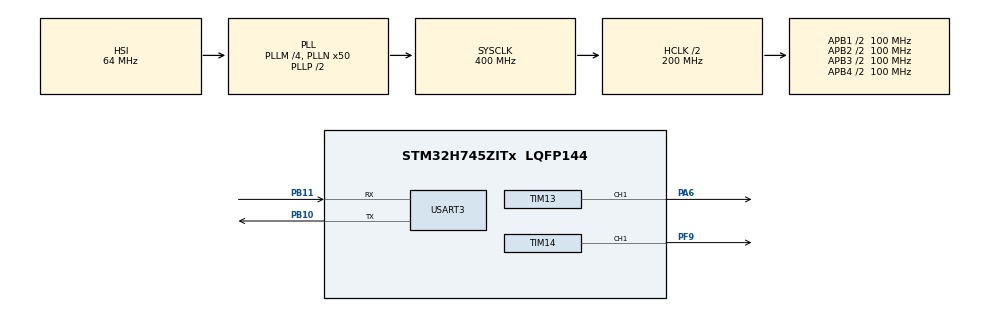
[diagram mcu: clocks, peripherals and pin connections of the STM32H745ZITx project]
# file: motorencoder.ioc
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CORTEX_M7.default_mode_Activation=1
CortexM4.IPs=BDMA,CORTEX_M4\:I,DMA,FATFS_M4\:I,FREERTOS_M4\:I,GPIO,IWDG2\:I,MDMA,NVIC2\:I,OPENAMP_M4\:I,PDM2PCM_M4\:I,PWR,RCC,RESMGR_UTILITY,SYS_M4\:I,USB_DEVICE_M4\:I,USB_HOST_M4\:I,VREFBUF,WWDG2\:I
CortexM7.IPs=BDMA\:I,CORTEX_M7\:I,DMA\:I,FATFS_M7\:I,FREERTOS_M7\:I,GPIO\:I,IWDG1\:I,MDMA\:I,NVIC1\:I,OPENAMP_M7\:I,PDM2PCM_M7\:I,PWR\:I,RCC\:I,RESMGR_UTILITY\:I,SYS\:I,USB_DEVICE_M7\:I,USB_HOST_M7\:I,VREFBUF\:I,WWDG1\:I,MEMORYMAP\:I,TIM13\:I,USART3\:I,TIM14\:I
Mcu.Family=STM32H7
Mcu.Name=STM32H745ZITx
Mcu.Package=LQFP144
NVIC1.PriorityGroup=NVIC_PRIORITYGROUP_4
NVIC2.PriorityGroup=NVIC_PRIORITYGROUP_4
PA6.PinAttribute=CortexM7
PA6.Signal=S_TIM13_CH1
PB10.Mode=Asynchronous
PB10.PinAttribute=CortexM7
PB10.Signal=USART3_TX
PB11.Mode=Asynchronous
PB11.PinAttribute=CortexM7
PB11.Signal=USART3_RX
PC14-OSC32_IN\ (OSC32_IN).Mode=LSE-External-Oscillator
PC14-OSC32_IN\ (OSC32_IN).PinAttribute=Free
PC14-OSC32_IN\ (OSC32_IN).Signal=RCC_OSC32_IN
PC15-OSC32_OUT\ (OSC32_OUT).Mode=LSE-External-Oscillator
PC15-OSC32_OUT\ (OSC32_OUT).PinAttribute=Free
PC15-OSC32_OUT\ (OSC32_OUT).Signal=RCC_OSC32_OUT
PF9.PinAttribute=CortexM7
PF9.Signal=S_TIM14_CH1
PH0-OSC_IN\ (PH0).Mode=HSE-External-Clock-Source
PH0-OSC_IN\ (PH0).PinAttribute=Free
PH0-OSC_IN\ (PH0).Signal=RCC_OSC_IN
ProjectManager.HeapSize=M4-0x200,M7-0x200
ProjectManager.StackSize=M4-0x400,M7-0x400
ProjectManager.TargetToolchain=STM32CubeIDE
RCC.ADCFreq_Value=129000000
RCC.APB1Freq_Value=100000000
RCC.APB2Freq_Value=100000000
RCC.APB3Freq_Value=100000000
RCC.APB4Freq_Value=100000000
RCC.CortexFreq_Value=400000000
RCC.D1PPRE=RCC_APB3_DIV2
RCC.D2PPRE1=RCC_APB1_DIV2
RCC.D2PPRE2=RCC_APB2_DIV2
RCC.D3PPRE=RCC_APB4_DIV2
RCC.DIVM1=4
RCC.DIVN1=50
RCC.HCLKFreq_Value=200000000
RCC.HPRE=RCC_HCLK_DIV2
RCC.HSE_VALUE=8000000
RCC.SYSCLKFreq_VALUE=400000000
RCC.SYSCLKSource=RCC_SYSCLKSOURCE_PLLCLK
RCC.USBFreq_Value=400000000
SH.S_TIM13_CH1.0=TIM13_CH1,PWM Generation1 CH1
SH.S_TIM14_CH1.0=TIM14_CH1,PWM Generation1 CH1
SYS.userName=SYS_M7
TIM13.AutoReloadPreload=TIM_AUTORELOAD_PRELOAD_ENABLE
TIM13.Channel=TIM_CHANNEL_1
TIM13.Period=19999
TIM13.Prescaler=199
TIM13.Pulse=1500
TIM14.AutoReloadPreload=TIM_AUTORELOAD_PRELOAD_ENABLE
TIM14.Channel=TIM_CHANNEL_1
TIM14.Period=19999
TIM14.Prescaler=199
TIM14.Pulse=1500
USART3.VirtualMode-Asynchronous=VM_ASYNC
VP_MEMORYMAP_VS_MEMORYMAP.Mode=CurAppReg
VP_SYS_M4_VS_Systick.Mode=SysTick
VP_TIM13_VS_ClockSourceINT.Mode=Enable_Timer
VP_TIM14_VS_ClockSourceINT.Mode=Enable_Timer
board=custom

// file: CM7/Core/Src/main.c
/* USER CODE BEGIN Header */
/**
  ******************************************************************************
  * @file           : main.c
  * @brief          : Main program body
  ******************************************************************************
  * @attention
  *
  * Copyright (c) 2025 STMicroelectronics.
  * All rights reserved.
  *
  * This software is licensed under terms that can be found in the LICENSE file
  * in the root directory of this software component.
  * If no LICENSE file comes with this software, it is provided AS-IS.
  *
  ******************************************************************************
  */
/* USER CODE END Header */
#include "main.h"

/* USER CODE BEGIN PD */

/* DUAL_CORE_BOOT_SYNC_SEQUENCE: Define for dual core boot synchronization    */
/*                             demonstration code based on hardware semaphore */
/* This define is present in both CM7/CM4 projects                            */
/* To comment when developping/debugging on a single core                     */
#define DUAL_CORE_BOOT_SYNC_SEQUENCE

#if defined(DUAL_CORE_BOOT_SYNC_SEQUENCE)
#ifndef HSEM_ID_0
#define HSEM_ID_0 (0U) /* HW semaphore 0*/
#endif
#endif /* DUAL_CORE_BOOT_SYNC_SEQUENCE */

/* USER CODE END PD */

TIM_HandleTypeDef htim13;
TIM_HandleTypeDef htim14;

UART_HandleTypeDef huart3;

void SystemClock_Config(void);
static void MPU_Config(void);
static void MX_GPIO_Init(void);
static void MX_TIM13_Init(void);
static void MX_USART3_UART_Init(void);
static void MX_TIM14_Init(void);

/* USER CODE BEGIN 0 */
// Ajusta el ancho de pulso (en microsegundos) para el ESC
void setEscSpeed(uint16_t pulseWidth_us)
{
    if (pulseWidth_us < 1000) pulseWidth_us = 1000;   // límite inferior
    if (pulseWidth_us > 2000) pulseWidth_us = 2000;   // límite superior
    __HAL_TIM_SET_COMPARE(&htim14, TIM_CHANNEL_1, pulseWidth_us);
}

// Pone el ESC en neutral (1.5 ms)
void stopCarEsc(void)
{
    __HAL_TIM_SET_COMPARE(&htim14, TIM_CHANNEL_1, 1500);
}

// Calibración del ESC
void escCalibrate(void)
{
    // Paso 1: Full Throttle
    setEscSpeed(2000);
    HAL_Delay(5000);

    // Paso 2: Full Reverse
    setEscSpeed(1000);
    HAL_Delay(5000);

    // Paso 3: Neutral
    stopCarEsc();
    HAL_Delay(2000);
}
/* USER CODE END 0 */

int main(void)
{

/* USER CODE BEGIN Boot_Mode_Sequence_0 */
#if defined(DUAL_CORE_BOOT_SYNC_SEQUENCE)
  int32_t timeout;
#endif /* DUAL_CORE_BOOT_SYNC_SEQUENCE */
/* USER CODE END Boot_Mode_Sequence_0 */

  /* MPU Configuration--------------------------------------------------------*/
  MPU_Config();

/* USER CODE BEGIN Boot_Mode_Sequence_1 */
#if defined(DUAL_CORE_BOOT_SYNC_SEQUENCE)
  /* Wait until CPU2 boots and enters in stop mode or timeout*/
  timeout = 0xFFFF;
  while((__HAL_RCC_GET_FLAG(RCC_FLAG_D2CKRDY) != RESET) && (timeout-- > 0));
  if ( timeout < 0 )
  {
  Error_Handler();
  }
#endif /* DUAL_CORE_BOOT_SYNC_SEQUENCE */
/* USER CODE END Boot_Mode_Sequence_1 */
  /* MCU Configuration--------------------------------------------------------*/

  /* Reset of all peripherals, Initializes the Flash interface and the Systick. */
  HAL_Init();

  /* Configure the system clock */
  SystemClock_Config();
/* USER CODE BEGIN Boot_Mode_Sequence_2 */
#if defined(DUAL_CORE_BOOT_SYNC_SEQUENCE)
/* When system initialization is finished, Cortex-M7 will release Cortex-M4 by means of
HSEM notification */
/*HW semaphore Clock enable*/
__HAL_RCC_HSEM_CLK_ENABLE();
/*Take HSEM */
HAL_HSEM_FastTake(HSEM_ID_0);
/*Release HSEM in order to notify the CPU2(CM4)*/
HAL_HSEM_Release(HSEM_ID_0,0);
/* wait until CPU2 wakes up from stop mode */
timeout = 0xFFFF;
while((__HAL_RCC_GET_FLAG(RCC_FLAG_D2CKRDY) == RESET) && (timeout-- > 0));
if ( timeout < 0 )
{
Error_Handler();
}
#endif /* DUAL_CORE_BOOT_SYNC_SEQUENCE */
/* USER CODE END Boot_Mode_Sequence_2 */

  /* Initialize all configured peripherals */
  MX_GPIO_Init();
  MX_TIM13_Init();
  MX_USART3_UART_Init();
  MX_TIM14_Init();
  /* USER CODE BEGIN 2 */
  // Arrancar el PWM en TIM13 canal 1
  HAL_TIM_PWM_Start(&htim13, TIM_CHANNEL_1);
  HAL_TIM_PWM_Start(&htim14, TIM_CHANNEL_1);
  setEscSpeed(2000); // Full Throttle
  HAL_Delay(5000);   // espera 5 segundos
  escCalibrate();

  /* USER CODE END 2 */

  /* Infinite loop */
  /* USER CODE BEGIN WHILE */
  while (1)
  {
      // Avanza a máxima velocidad
      setEscSpeed(1700);
      HAL_Delay(2000);

      // Neutro
      stopCarEsc();
      HAL_Delay(2000);

      // Reversa
      setEscSpeed(1250);
      HAL_Delay(2000);

      // Neutro
      stopCarEsc();
      HAL_Delay(2000);
  }
    /* USER CODE END WHILE */

}

void SystemClock_Config(void)
{
  RCC_OscInitTypeDef RCC_OscInitStruct = {0};
  RCC_ClkInitTypeDef RCC_ClkInitStruct = {0};

  /** Supply configuration update enable
  */
  HAL_PWREx_ConfigSupply(PWR_DIRECT_SMPS_SUPPLY);

  /** Configure the main internal regulator output voltage
  */
  __HAL_PWR_VOLTAGESCALING_CONFIG(PWR_REGULATOR_VOLTAGE_SCALE1);

  while(!__HAL_PWR_GET_FLAG(PWR_FLAG_VOSRDY)) {}

  /** Initializes the RCC Oscillators according to the specified parameters
  * in the RCC_OscInitTypeDef structure.
  */
  RCC_OscInitStruct.OscillatorType = RCC_OSCILLATORTYPE_HSI;
  RCC_OscInitStruct.HSIState = RCC_HSI_DIV1;
  RCC_OscInitStruct.HSICalibrationValue = RCC_HSICALIBRATION_DEFAULT;
  RCC_OscInitStruct.PLL.PLLState = RCC_PLL_ON;
  RCC_OscInitStruct.PLL.PLLSource = RCC_PLLSOURCE_HSI;
  RCC_OscInitStruct.PLL.PLLM = 4;
  RCC_OscInitStruct.PLL.PLLN = 50;
  RCC_OscInitStruct.PLL.PLLP = 2;
  RCC_OscInitStruct.PLL.PLLQ = 2;
  RCC_OscInitStruct.PLL.PLLR = 2;
  RCC_OscInitStruct.PLL.PLLRGE = RCC_PLL1VCIRANGE_3;
  RCC_OscInitStruct.PLL.PLLVCOSEL = RCC_PLL1VCOWIDE;
  RCC_OscInitStruct.PLL.PLLFRACN = 0;
  if (HAL_RCC_OscConfig(&RCC_OscInitStruct) != HAL_OK)
  {
    Error_Handler();
  }

  /** Initializes the CPU, AHB and APB buses clocks
  */
  RCC_ClkInitStruct.ClockType = RCC_CLOCKTYPE_HCLK|RCC_CLOCKTYPE_SYSCLK
                              |RCC_CLOCKTYPE_PCLK1|RCC_CLOCKTYPE_PCLK2
                              |RCC_CLOCKTYPE_D3PCLK1|RCC_CLOCKTYPE_D1PCLK1;
  RCC_ClkInitStruct.SYSCLKSource = RCC_SYSCLKSOURCE_PLLCLK;
  RCC_ClkInitStruct.SYSCLKDivider = RCC_SYSCLK_DIV1;
  RCC_ClkInitStruct.AHBCLKDivider = RCC_HCLK_DIV2;
  RCC_ClkInitStruct.APB3CLKDivider = RCC_APB3_DIV2;
  RCC_ClkInitStruct.APB1CLKDivider = RCC_APB1_DIV2;
  RCC_ClkInitStruct.APB2CLKDivider = RCC_APB2_DIV2;
  RCC_ClkInitStruct.APB4CLKDivider = RCC_APB4_DIV2;

  if (HAL_RCC_ClockConfig(&RCC_ClkInitStruct, FLASH_LATENCY_2) != HAL_OK)
  {
    Error_Handler();
  }
}

static void MX_TIM13_Init(void)
{

  TIM_OC_InitTypeDef sConfigOC = {0};

  htim13.Instance = TIM13;
  htim13.Init.Prescaler = 199;
  htim13.Init.CounterMode = TIM_COUNTERMODE_UP;
  htim13.Init.Period = 19999;
  htim13.Init.ClockDivision = TIM_CLOCKDIVISION_DIV1;
  htim13.Init.AutoReloadPreload = TIM_AUTORELOAD_PRELOAD_ENABLE;
  if (HAL_TIM_Base_Init(&htim13) != HAL_OK)
  {
    Error_Handler();
  }
  if (HAL_TIM_PWM_Init(&htim13) != HAL_OK)
  {
    Error_Handler();
  }
  sConfigOC.OCMode = TIM_OCMODE_PWM1;
  sConfigOC.Pulse = 1500;
  sConfigOC.OCPolarity = TIM_OCPOLARITY_HIGH;
  sConfigOC.OCFastMode = TIM_OCFAST_DISABLE;
  if (HAL_TIM_PWM_ConfigChannel(&htim13, &sConfigOC, TIM_CHANNEL_1) != HAL_OK)
  {
    Error_Handler();
  }
  HAL_TIM_MspPostInit(&htim13);

}

static void MX_TIM14_Init(void)
{

  TIM_OC_InitTypeDef sConfigOC = {0};

  htim14.Instance = TIM14;
  htim14.Init.Prescaler = 199;
  htim14.Init.CounterMode = TIM_COUNTERMODE_UP;
  htim14.Init.Period = 19999;
  htim14.Init.ClockDivision = TIM_CLOCKDIVISION_DIV1;
  htim14.Init.AutoReloadPreload = TIM_AUTORELOAD_PRELOAD_ENABLE;
  if (HAL_TIM_Base_Init(&htim14) != HAL_OK)
  {
    Error_Handler();
  }
  if (HAL_TIM_PWM_Init(&htim14) != HAL_OK)
  {
    Error_Handler();
  }
  sConfigOC.OCMode = TIM_OCMODE_PWM1;
  sConfigOC.Pulse = 1500;
  sConfigOC.OCPolarity = TIM_OCPOLARITY_HIGH;
  sConfigOC.OCFastMode = TIM_OCFAST_DISABLE;
  if (HAL_TIM_PWM_ConfigChannel(&htim14, &sConfigOC, TIM_CHANNEL_1) != HAL_OK)
  {
    Error_Handler();
  }
  HAL_TIM_MspPostInit(&htim14);

}

static void MX_USART3_UART_Init(void)
{

  huart3.Instance = USART3;
  huart3.Init.BaudRate = 115200;
  huart3.Init.WordLength = UART_WORDLENGTH_8B;
  huart3.Init.StopBits = UART_STOPBITS_1;
  huart3.Init.Parity = UART_PARITY_NONE;
  huart3.Init.Mode = UART_MODE_TX_RX;
  huart3.Init.HwFlowCtl = UART_HWCONTROL_NONE;
  huart3.Init.OverSampling = UART_OVERSAMPLING_16;
  huart3.Init.OneBitSampling = UART_ONE_BIT_SAMPLE_DISABLE;
  huart3.Init.ClockPrescaler = UART_PRESCALER_DIV1;
  huart3.AdvancedInit.AdvFeatureInit = UART_ADVFEATURE_NO_INIT;
  if (HAL_UART_Init(&huart3) != HAL_OK)
  {
    Error_Handler();
  }
  if (HAL_UARTEx_SetTxFifoThreshold(&huart3, UART_TXFIFO_THRESHOLD_1_8) != HAL_OK)
  {
    Error_Handler();
  }
  if (HAL_UARTEx_SetRxFifoThreshold(&huart3, UART_RXFIFO_THRESHOLD_1_8) != HAL_OK)
  {
    Error_Handler();
  }
  if (HAL_UARTEx_DisableFifoMode(&huart3) != HAL_OK)
  {
    Error_Handler();
  }

}

static void MX_GPIO_Init(void)
{

  /* GPIO Ports Clock Enable */
  __HAL_RCC_GPIOF_CLK_ENABLE();
  __HAL_RCC_GPIOA_CLK_ENABLE();
  __HAL_RCC_GPIOB_CLK_ENABLE();

}

 /* MPU Configuration */

void MPU_Config(void)
{
  MPU_Region_InitTypeDef MPU_InitStruct = {0};

  /* Disables the MPU */
  HAL_MPU_Disable();

  /** Initializes and configures the Region and the memory to be protected
  */
  MPU_InitStruct.Enable = MPU_REGION_ENABLE;
  MPU_InitStruct.Number = MPU_REGION_NUMBER0;
  MPU_InitStruct.BaseAddress = 0x0;
  MPU_InitStruct.Size = MPU_REGION_SIZE_4GB;
  MPU_InitStruct.SubRegionDisable = 0x87;
  MPU_InitStruct.TypeExtField = MPU_TEX_LEVEL0;
  MPU_InitStruct.AccessPermission = MPU_REGION_NO_ACCESS;
  MPU_InitStruct.DisableExec = MPU_INSTRUCTION_ACCESS_DISABLE;
  MPU_InitStruct.IsShareable = MPU_ACCESS_SHAREABLE;
  MPU_InitStruct.IsCacheable = MPU_ACCESS_NOT_CACHEABLE;
  MPU_InitStruct.IsBufferable = MPU_ACCESS_NOT_BUFFERABLE;

  HAL_MPU_ConfigRegion(&MPU_InitStruct);
  /* Enables the MPU */
  HAL_MPU_Enable(MPU_PRIVILEGED_DEFAULT);

}

void Error_Handler(void)
{
  __disable_irq();
  while (1)
  {
  }
}
